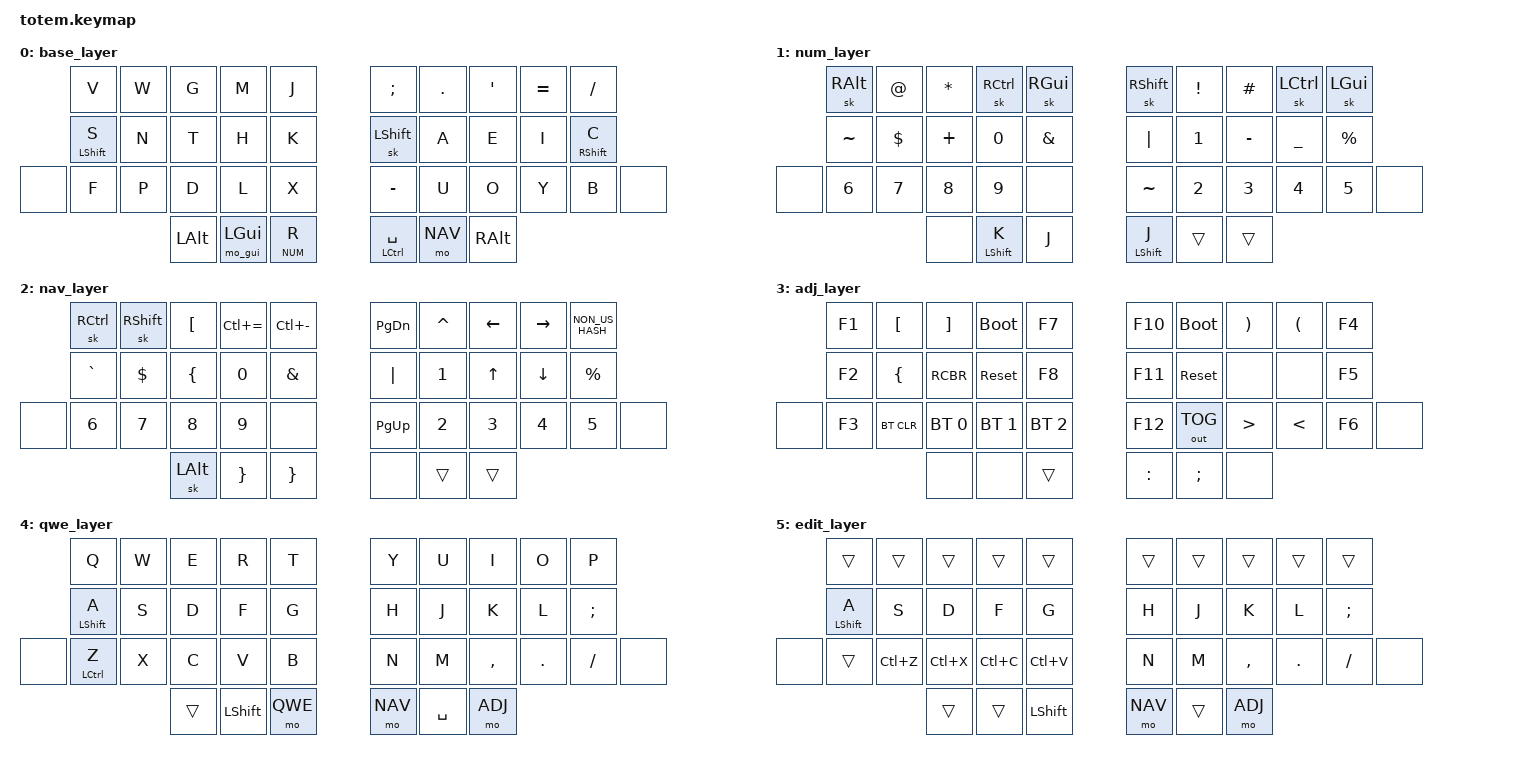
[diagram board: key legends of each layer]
#include <behaviors.dtsi>
#include <dt-bindings/zmk/keys.h>
#include <dt-bindings/zmk/bt.h>
#include <dt-bindings/zmk/outputs.h>

#define BASE 0
#define NUM  1
#define NAV  2
#define ADJ  3
#define QWE  4
#define EDIT 5

/* ----------------- Achordion / Chordal Hold Key Position Sets ----------------- */
#define KEYS_L 0 1 2 3 4 10 11 12 13 14 20 21 22 23 24 25 32 33 34
#define KEYS_R 5 6 7 8 9 15 16 17 18 19 26 27 28 29 30 31 35 36 37
#define THUMBS 32 33 34 35 36 37

/ {
    /* ----------------- Tri-Layer Setup (Layer 1 + 2 = Layer 3) ----------------- */
    conditional_layers {
        compatible = "zmk,conditional-layers";
        tri_layer {
            if-layers = <NUM NAV>;
            then-layer = <ADJ>;
        };
    };

    /* ----------------- Combos (Translated from key_combos[]) ----------------- */
    combos {
        compatible = "zmk,combos";

        combo_q {
            timeout-ms = <50>;
            key-positions = <1 2>; // W + G
            bindings = <&kp Q>;
        };

        combo_z {
            timeout-ms = <50>;
            key-positions = <2 3>; // G + M
            bindings = <&kp Z>;
        };

        combo_caps_word {
            timeout-ms = <50>;
            key-positions = <6 7 8>; // DOT + QUOT + EQL
            bindings = <&caps_word>;
        };

        combo_tab {
            timeout-ms = <50>;
            key-positions = <1 2 3>; // W + G + M
            bindings = <&kp TAB>;
        };

        combo_ctrl_bspc {
            timeout-ms = <50>;
            key-positions = <6 7>; // DOT + QUOT
            bindings = <&kp LC(BSPC)>;
        };

        combo_enter {
            timeout-ms = <50>;
            key-positions = <16 17 18>; // A + E + I
            bindings = <&kp RET>;
        };

        combo_esc {
            timeout-ms = <50>;
            key-positions = <7 8>; // QUOT + EQL
            bindings = <&kp ESC>;
        };

        combo_comma {
            timeout-ms = <50>; // OSM(LSFT) + A
            key-positions = <15 16>;
            bindings = <&kp COMMA>;
        };

        combo_bspc {
            timeout-ms = <50>;
            key-positions = <8 9>; // EQL + SLSH
            bindings = <&kp BSPC>;
        };

        combo_del {
            timeout-ms = <50>;
            key-positions = <6 8>; // DOT + EQL
            bindings = <&kp DEL>;
        };
    };

    /* ----------------- Custom Behaviors ----------------- */
    behaviors {
        // Chordal Hold / Permissive Hold: Left Hand Home-Row Mods
        hml: home_row_mod_left {
            compatible = "zmk,behavior-hold-tap";
            #binding-cells = <2>;
            flavor = "balanced";
            tapping-term-ms = <200>;
            quick-tap-ms = <150>;
            require-prior-idle-ms = <125>;
            hold-trigger-key-positions = <KEYS_R THUMBS>;
            hold-trigger-on-release;
            bindings = <&kp>, <&kp>;
        };

        // Chordal Hold / Permissive Hold: Right Hand Home-Row Mods
        hmr: home_row_mod_right {
            compatible = "zmk,behavior-hold-tap";
            #binding-cells = <2>;
            flavor = "balanced";
            tapping-term-ms = <200>;
            quick-tap-ms = <150>;
            require-prior-idle-ms = <125>;
            hold-trigger-key-positions = <KEYS_L THUMBS>;
            hold-trigger-on-release;
            bindings = <&kp>, <&kp>;
        };

        // Hold-on-other-key-press behavior (for SFT_T(S), MT(RSFT, C), etc.)
        hp: hold_preferred_tap {
            compatible = "zmk,behavior-hold-tap";
            #binding-cells = <2>;
            flavor = "hold-preferred";
            tapping-term-ms = <200>;
            quick-tap-ms = <150>;
            bindings = <&kp>, <&kp>;
        };

        // Layer-Tap for Thumbs (LT(1, R))
        lt_thumb: layer_tap_thumb {
            compatible = "zmk,behavior-hold-tap";
            #binding-cells = <2>;
            flavor = "balanced";
            tapping-term-ms = <200>;
            quick-tap-ms = <150>;
            bindings = <&mo>, <&kp>;
        };

        // Layer-Mod emulation for LM(4, MOD_LGUI): Hold = Layer 4 + LGUI, Tap = LGUI
        lm_gui: layer_mod_gui {
            compatible = "zmk,behavior-hold-tap";
            #binding-cells = <2>;
            flavor = "hold-preferred";
            tapping-term-ms = <200>;
            bindings = <&mo_gui>, <&kp>;
        };
    };

    macros {
        mo_gui: mo_gui_macro {
            compatible = "zmk,behavior-macro";
            #binding-cells = <0>;
            bindings
                = <&macro_press &mo QWE &kp LGUI>
                , <&macro_pause_for_release>
                , <&macro_release &mo QWE &kp LGUI>;
        };
    };

    /* ----------------- Keymap Layers ----------------- */
    keymap {
        compatible = "zmk,keymap";

        // Layer 0: Base Layout (Zeptic / Engram derivative)
        base_layer {
            bindings = <
                &kp V        &kp W        &kp G        &kp M            &kp J                       &kp SEMI       &kp DOT      &kp SQT      &kp EQUAL    &kp FSLH
                &hp LSHFT S  &kp N        &kp T        &kp H            &kp K                       &sk LSHFT      &kp A        &kp E        &kp I        &hp RSHFT C
        &none   &kp F        &kp P        &kp D        &kp L            &kp X                       &kp MINUS      &kp U        &kp O        &kp Y        &kp B         &none
                                          &kp LALT     &lm_gui 0 LGUI   &lt_thumb NUM R             &hp LCTRL SPACE &mo NAV     &kp RALT
            >;
        };

        // Layer 1: Numbers & Symbols
        num_layer {
            bindings = <
                &sk RALT     &kp AT       &kp ASTRK    &sk RCTRL        &sk RGUI                    &sk RSHFT      &kp EXCL     &kp HASH     &sk LCTRL    &sk LGUI
                &kp TILDE    &kp DLLR     &kp PLUS     &kp N0           &kp AMPS                    &kp PIPE       &kp N1       &kp MINUS    &kp UNDER    &kp PRCNT
        &none   &kp N6       &kp N7       &kp N8       &kp N9           &none                       &kp TILDE      &kp N2       &kp N3       &kp N4       &kp N5        &none
                                          &none        &hp LSHFT K      &kp J                       &hp LSHFT J    &trans       &trans
            >;
        };

        // Layer 2: Navigation & Brackets
        nav_layer {
            bindings = <
                &sk RCTRL    &sk RSHFT    &kp LBKT     &kp LC(EQUAL)    &kp LC(MINUS)               &kp PG_DN      &kp CARET    &kp LEFT     &kp RIGHT    &kp NON_US_HASH
                &kp GRAVE    &kp DLLR     &kp LBRC     &kp N0           &kp AMPS                    &kp PIPE       &kp N1       &kp UP       &kp DOWN     &kp PRCNT
        &none   &kp N6       &kp N7       &kp N8       &kp N9           &none                       &kp PG_UP      &kp N2       &kp N3       &kp N4       &kp N5        &none
                                          &sk LALT     &kp RBRC         &kp RBRC                    &none          &trans       &trans
            >;
        };

        // Layer 3: Function & Adjust (Activated automatically via Tri-Layer)
        adj_layer {
            bindings = <
                &kp F1       &kp LBKT     &kp RBKT     &bootloader      &kp F7                      &kp F10        &bootloader  &kp RPAR     &kp LPAR     &kp F4
                &kp F2       &kp LBRC     &kp RCBR     &sys_reset       &kp F8                      &kp F11        &sys_reset   &none        &none        &kp F5
        &none   &kp F3       &bt BT_CLR   &bt BT_SEL 0 &bt BT_SEL 1     &bt BT_SEL 2                &kp F12        &out OUT_TOG &kp GT       &kp LT       &kp F6        &none
                                          &none        &none            &trans                      &kp COLON      &kp SEMI     &none
            >;
        };

        // Layer 4: Gaming / QWERTY
        qwe_layer {
            bindings = <
                &kp Q        &kp W        &kp E        &kp R            &kp T                       &kp Y          &kp U        &kp I        &kp O        &kp P
                &hp LSHFT A  &kp S        &kp D        &kp F            &kp G                       &kp H          &kp J        &kp K        &kp L        &kp SEMI
        &none   &hp LCTRL Z  &kp X        &kp C        &kp V            &kp B                       &kp N          &kp M        &kp COMMA    &kp DOT      &kp FSLH      &none
                                          &trans       &kp LSHFT        &mo QWE                     &mo NAV        &kp SPACE    &mo ADJ
            >;
        };

        // Layer 5: Media / Quick Editing Shortcuts
        edit_layer {
            bindings = <
                &trans       &trans       &trans       &trans           &trans                      &trans         &trans       &trans       &trans       &trans
                &hp LSHFT A  &kp S        &kp D        &kp F            &kp G                       &kp H          &kp J        &kp K        &kp L        &kp SEMI
        &none   &trans       &kp LC(Z)    &kp LC(X)    &kp LC(C)        &kp LC(V)                   &kp N          &kp M        &kp COMMA    &kp DOT      &kp FSLH      &none
                                          &trans       &trans           &kp LSHFT                   &mo NAV        &trans       &mo ADJ
            >;
        };
    };
};
